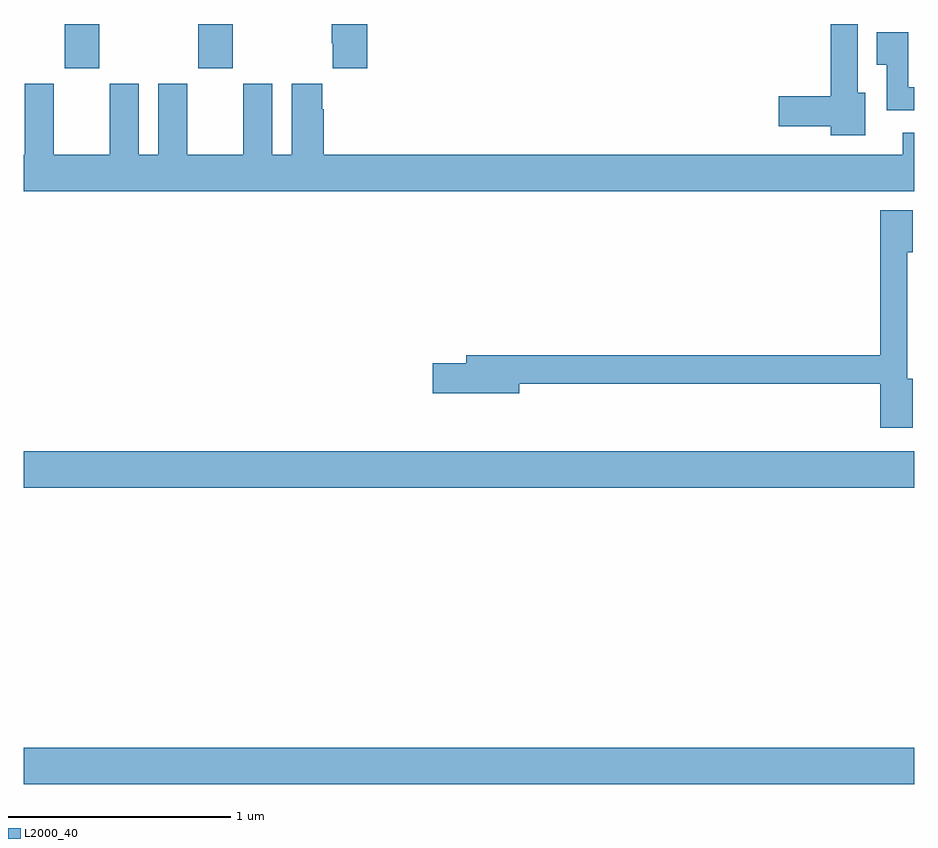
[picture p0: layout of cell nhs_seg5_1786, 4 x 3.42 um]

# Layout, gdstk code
import gdstk
lib = gdstk.Library(unit=1e-6, precision=1e-09)
def R(c, l, rs):  # rectangles x0, y0, x1, y1
    for r in rs: c.add(gdstk.rectangle(r[:2], r[2:], *l))
def P(c, l, *ps):  # polygons
    for p in ps: c.add(gdstk.Polygon(p, *l))
L2000_40 = (2000, 40)

nhs_seg5_1786 = lib.new_cell('nhs_seg5_1786')
R(nhs_seg5_1786, L2000_40, [(217,899.384,221,899.548), (217,900.716,221,900.88), (217.183,902.601,217.338,902.799), (217.783,902.601,217.938,902.799)])
P(nhs_seg5_1786, L2000_40, [(218.543,902.799),(218.383,902.799),(218.383,902.713),(218.387,902.713),(218.387,902.601),(218.543,902.601)],
  [(220.78,902.491),(220.747,902.491),(220.747,902.799),(220.625,902.799),(220.625,902.474),(220.392,902.474),(220.392,902.339),(220.625,902.339),(220.625,902.3),(220.78,902.3)],
  [(221,902.515),(220.974,902.515),(220.974,902.761),(220.832,902.761),(220.832,902.617),(220.877,902.617),(220.877,902.411),(221,902.411)],
  [(221,902.311),(220.949,902.311),(220.949,902.212),(218.348,902.212),(218.348,902.417),(218.341,902.417),(218.341,902.53),(218.204,902.53),(218.204,902.212),(218.116,902.212),(218.116,902.53),(217.985,902.53),(217.985,902.212),(217.735,902.212),(217.735,902.53),(217.604,902.53),(217.604,902.212),(217.516,902.212),(217.516,902.53),(217.385,902.53),(217.385,902.212),(217.135,902.212),(217.135,902.53),(217.004,902.53),(217.004,902.212),(217,902.212),(217,902.048),(221,902.048)],
  [(220.993,901.206),(220.969,901.206),(220.969,901.773),(220.993,901.773),(220.993,901.963),(220.847,901.963),(220.847,901.31),(218.987,901.31),(218.987,901.274),(218.838,901.274),(218.838,901.139),(219.226,901.139),(219.226,901.182),(220.847,901.182),(220.847,900.984),(220.993,900.984)])

lib.write_gds('nhs_seg5_1786.gds')
